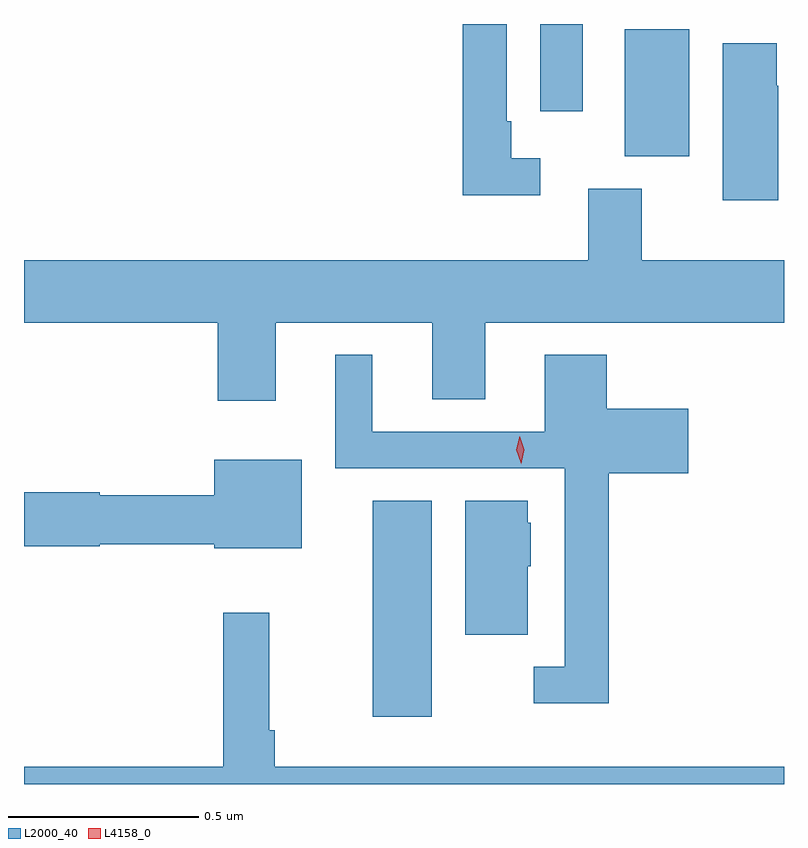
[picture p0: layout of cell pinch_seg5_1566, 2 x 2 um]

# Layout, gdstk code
import gdstk
lib = gdstk.Library(unit=1e-6, precision=1e-09)
def R(c, l, rs):  # rectangles x0, y0, x1, y1
    for r in rs: c.add(gdstk.rectangle(r[:2], r[2:], *l))
def P(c, l, *ps):  # polygons
    for p in ps: c.add(gdstk.Polygon(p, *l))
L2000_40 = (2000, 40)
L4158_0 = (4158, 0)

pinch_seg5_1566 = lib.new_cell('pinch_seg5_1566')
R(pinch_seg5_1566, L2000_40, [(352.253,847.731,352.408,848.3), (352.916,849.206,353.086,849.54), (352.694,849.324,352.806,849.554)])
P(pinch_seg5_1566, L2000_40, [(352.693,849.201),(352.617,849.201),(352.617,849.298),(352.605,849.298),(352.605,849.554),(352.489,849.554),(352.489,849.104),(352.693,849.104)],
  [(353.32,849.392),(353.316,849.392),(353.316,849.503),(353.174,849.503),(353.174,849.09),(353.32,849.09)],
  [(351.997,848.768),(352.409,848.768),(352.409,848.566),(352.549,848.566),(352.549,848.768),(353.335,848.768),(353.335,848.932),(352.96,848.932),(352.96,849.121),(352.82,849.121),(352.82,848.932),(351.335,848.932),(351.335,848.768),(351.845,848.768),(351.845,848.562),(351.997,848.562)],
  [(352.874,848.372),(353.083,848.372),(353.083,848.542),(352.868,848.542),(352.868,848.683),(352.706,848.683),(352.706,848.481),(352.252,848.481),(352.252,848.683),(352.154,848.683),(352.154,848.385),(352.758,848.385),(352.758,847.863),(352.677,847.863),(352.677,847.766),(352.874,847.766)],
  [(352.066,848.407),(351.836,848.407),(351.836,848.314),(351.534,848.314),(351.534,848.322),(351.335,848.322),(351.335,848.18),(351.534,848.18),(351.534,848.185),(351.836,848.185),(351.836,848.174),(352.066,848.174)],
  [(352.66,848.127),(352.669,848.127),(352.669,848.241),(352.66,848.241),(352.66,848.3),(352.496,848.3),(352.496,847.947),(352.66,847.947)],
  [(353.335,847.6),(351.995,847.6),(351.995,847.696),(351.98,847.696),(351.98,848.005),(351.859,848.005),(351.859,847.6),(351.335,847.6),(351.335,847.554),(353.335,847.554)])
P(pinch_seg5_1566, L4158_0, [(352.643,848.397),(352.643,848.397),(352.631,848.433),(352.64,848.469),(352.64,848.469),(352.64,848.469),(352.651,848.434),(352.643,848.397)])

lib.write_gds('pinch_seg5_1566.gds')
